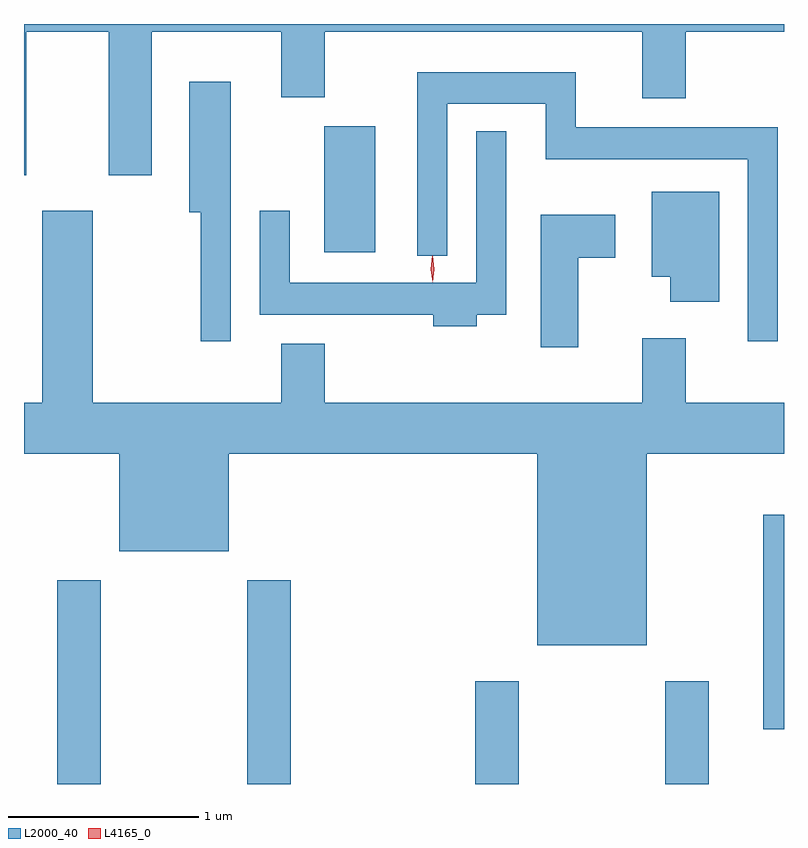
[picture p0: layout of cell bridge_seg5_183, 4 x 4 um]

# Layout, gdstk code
import gdstk
lib = gdstk.Library(unit=1e-6, precision=1e-09)
def R(c, l, rs):  # rectangles x0, y0, x1, y1
    for r in rs: c.add(gdstk.rectangle(r[:2], r[2:], *l))
def P(c, l, *ps):  # polygons
    for p in ps: c.add(gdstk.Polygon(p, *l))
L2000_40 = (2000, 40)
L4165_0 = (4165, 0)

bridge_seg5_183 = lib.new_cell('bridge_seg5_183')
R(bridge_seg5_183, L2000_40, [(1315.351,1426.197,1315.579,1427.269), (1316.351,1426.197,1316.579,1427.269), (1317.551,1426.197,1317.779,1426.739), (1318.551,1426.197,1318.779,1426.739), (1319.066,1426.486,1319.176,1427.613), (1316.756,1428.996,1317.024,1429.659)])
P(bridge_seg5_183, L2000_40, [(1315.189,1430.156),(1315.621,1430.156),(1315.621,1429.401),(1315.849,1429.401),(1315.849,1430.156),(1316.531,1430.156),(1316.531,1429.811),(1316.759,1429.811),(1316.759,1430.156),(1318.431,1430.156),(1318.431,1429.806),(1318.659,1429.806),(1318.659,1430.156),(1319.176,1430.156),(1319.176,1430.197),(1315.176,1430.197),(1315.176,1429.401),(1315.189,1429.401)],
  [(1319.144,1429.654),(1318.079,1429.654),(1318.079,1429.944),(1317.246,1429.944),(1317.246,1428.978),(1317.404,1428.978),(1317.404,1429.776),(1317.921,1429.776),(1317.921,1429.486),(1318.986,1429.486),(1318.986,1428.528),(1319.144,1428.528)],
  [(1316.264,1429.894),(1316.046,1429.894),(1316.046,1429.206),(1316.106,1429.206),(1316.106,1428.528),(1316.264,1428.528)],
  [(1317.559,1428.666),(1317.714,1428.666),(1317.714,1429.633),(1317.556,1429.633),(1317.556,1428.834),(1316.574,1428.834),(1316.574,1429.213),(1316.416,1429.213),(1316.416,1428.666),(1317.331,1428.666),(1317.331,1428.606),(1317.559,1428.606)],
  [(1318.834,1429.314),(1318.481,1429.314),(1318.481,1428.866),(1318.576,1428.866),(1318.576,1428.736),(1318.834,1428.736)],
  [(1318.454,1427.936),(1319.176,1427.936),(1319.176,1428.204),(1318.659,1428.204),(1318.659,1428.544),(1318.431,1428.544),(1318.431,1428.204),(1316.759,1428.204),(1316.759,1428.514),(1316.531,1428.514),(1316.531,1428.204),(1315.539,1428.204),(1315.539,1429.214),(1315.271,1429.214),(1315.271,1428.204),(1315.176,1428.204),(1315.176,1427.936),(1315.676,1427.936),(1315.676,1427.421),(1316.254,1427.421),(1316.254,1427.936),(1317.876,1427.936),(1317.876,1426.926),(1318.454,1426.926)],
  [(1318.094,1428.966),(1318.289,1428.966),(1318.289,1429.194),(1317.896,1429.194),(1317.896,1428.496),(1318.094,1428.496)])
P(bridge_seg5_183, L4165_0, [(1317.326,1428.837),(1317.326,1428.838),(1317.316,1428.907),(1317.325,1428.976),(1317.326,1428.976),(1317.326,1428.976),(1317.336,1428.907),(1317.327,1428.838)])

lib.write_gds('bridge_seg5_183.gds')
